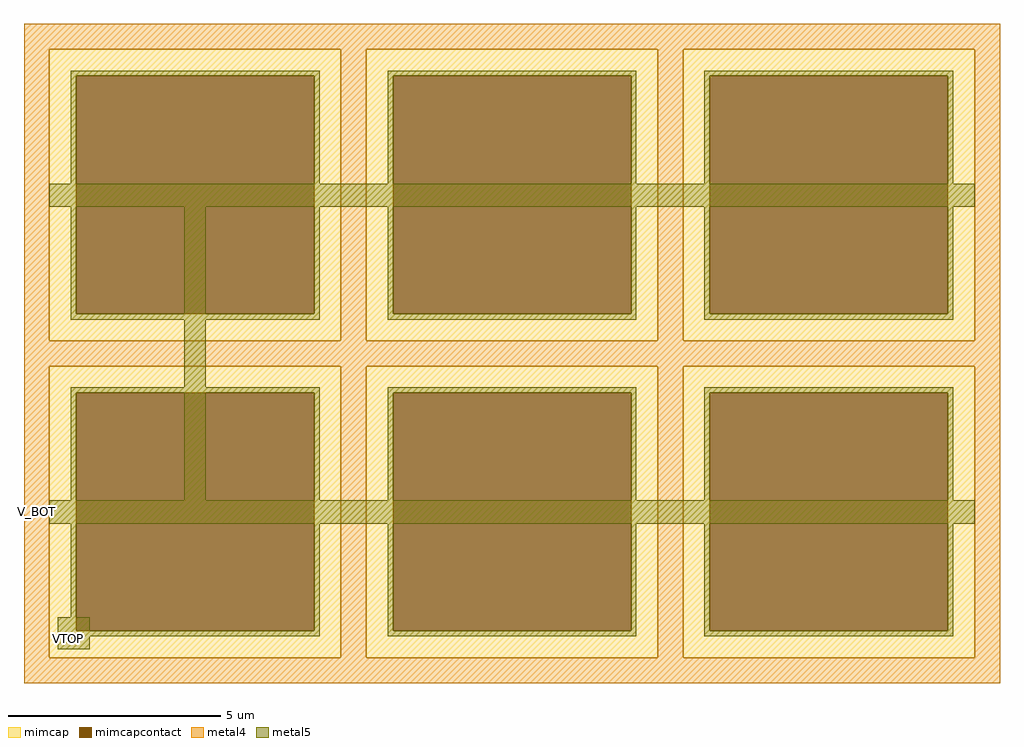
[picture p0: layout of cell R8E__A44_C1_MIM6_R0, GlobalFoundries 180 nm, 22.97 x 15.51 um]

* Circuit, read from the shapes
.subckt R8E__A44_C1_MIM6_R0 V_BOT VTOP
XC1 VTOP V_BOT cap_mim_2f0fF c_width=6.855u c_length=6.855u m=6
.ends

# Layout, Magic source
magic
tech gf180mcuD
magscale 1 10
<< metal4 >>
rect 20 760 100 850
<< metal5 >>
rect 120 750 4473 860
rect 120 2241 4473 2351
rect 755 805 855 2296
rect 160 160 310 310
use R8E__A44_MIM_6P855_R0  XMIM_R0_C0_R0
transform 1 0 120 0 1 120
box -120 -120 1491 1491
use R8E__A44_MIM_6P855_R0  XMIM_R0_C1_R0
transform 1 0 1611 0 1 120
box -120 -120 1491 1491
use R8E__A44_MIM_6P855_R0  XMIM_R0_C2_R0
transform 1 0 3102 0 1 120
box -120 -120 1491 1491
use R8E__A44_MIM_6P855_R0  XMIM_R1_C0_R0
transform 1 0 120 0 1 1611
box -120 -120 1491 1491
use R8E__A44_MIM_6P855_R0  XMIM_R1_C1_R0
transform 1 0 1611 0 1 1611
box -120 -120 1491 1491
use R8E__A44_MIM_6P855_R0  XMIM_R1_C2_R0
transform 1 0 3102 0 1 1611
box -120 -120 1491 1491
<< labels >>
rlabel metal4 s 36 782 84 830 4 V_BOT
port 1 nsew
rlabel metal5 s 186 186 234 234 4 VTOP
port 3 nsew
<< properties >>
string GDS_END 125738
string GDS_FILE ../native_sources/A44_A_Q2_BEFORE_ESD.gds
string GDS_START 124784
string FIXED_BBOX 0 0 4713 3200
<< end >>

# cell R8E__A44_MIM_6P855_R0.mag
magic
tech gf180mcuD
magscale 1 10
<< mimcap >>
rect 0 1246 1371 1371
rect 0 126 126 1246
rect 1246 126 1371 1246
rect 0 0 1371 126
<< mimcapcontact >>
rect 126 126 1246 1246
<< metal4 >>
rect -120 1371 1491 1491
rect -120 0 0 1371
rect 1371 0 1491 1371
rect -120 -120 1491 0
<< metal5 >>
rect 100 1246 1271 1271
rect 100 126 126 1246
rect 1246 126 1271 1246
rect 100 100 1271 126
<< properties >>
string GDS_END 54562
string GDS_FILE ../native_sources/A44_A_Q2_BEFORE_ESD.gds
string GDS_START 50142
<< end >>
